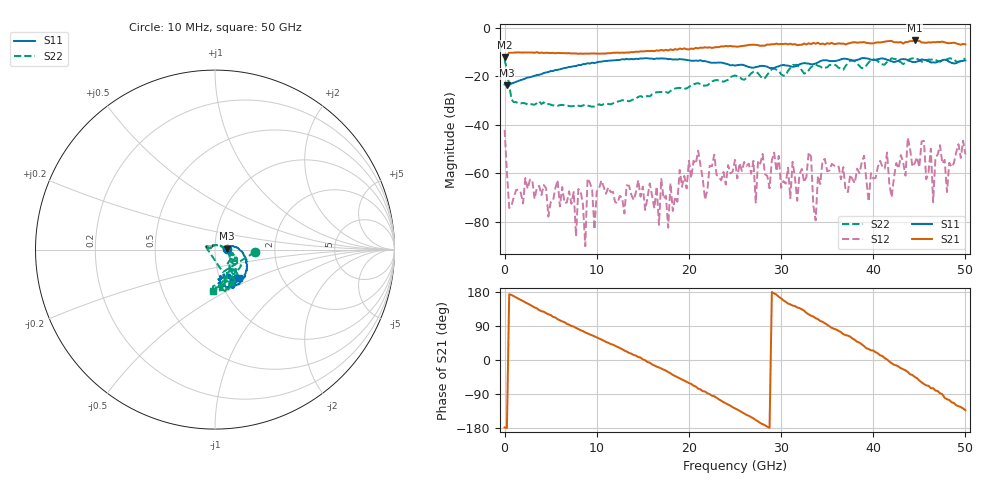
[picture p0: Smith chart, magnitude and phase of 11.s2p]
!Agilent Technologies,E8364C,MY43040239,A.09.42.22
!Agilent E8364C: A.09.42.22
!Date: Sunday, September 14, 2025 22:25:44
!Correction: S11(Full 2 Port(1,2))
!S21(Full 2 Port(1,2))
!S12(Full 2 Port(1,2))
!S22(Full 2 Port(1,2))
!S2P File: Measurements: S11, S21, S12, S22:
# Hz S  RI  R 50
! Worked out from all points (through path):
!   201 points, 10 MHz to 50 GHz, reference 50 ohm
!   highest |S21| = -5.29 dB at 44.5 GHz (marker M1); lowest = -12.2 dB at 10 MHz (marker M2)
!   lowest |S11| = -23.8 dB at 259.9 MHz (marker M3), VSWR 1.14, Z = 56.9 + j0.652 ohm
!   |S11| at or under -10 dB: start of sweep to end of sweep
!   |S22| runs from -32.6 to -12.5 dB; largest |S21 - S12| = 0.54
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1e7  0.0675 0.00323  -0.2444 -0.00836  0.0071 -0.00328  0.2228 -0.0131
2.5995e8  0.0642 0.00571  -0.2607 -0.00115  0.000421 -0.000982  0.0434 -0.1254
8.5083e9  0.1701 -0.0472  0.0686 0.2811  0.000227 -2.95e-05  -0.0032 0.0247
1.45071e10  0.1411 -0.1769  0.3139 0.0428  -0.000485 -0.000532  0.0301 0.0223
1.675665e10  0.1043 -0.2053  0.3155 -0.1128  7.5e-05 4.32e-05  0.0438 0.017
1.70066e10  0.0993 -0.2099  0.321 -0.1339  -0.000695 0.00031  0.0436 0.018
1.775645e10  0.0872 -0.2064  0.2871 -0.1781  -3.93e-05 6.5e-05  0.0442 0.00946
2.10058e10  0.0384 -0.2036  0.0936 -0.362  0.000646 0.00284  0.0716 0.000918
2.175565e10  0.038 -0.1999  0.0464 -0.391  -0.000186 0.000218  0.064 -0.00193
2.5005e10  0.0177 -0.1646  -0.2501 -0.3249  -0.000155 0.00189  0.1003 -0.0248
3.125375e10  0.072 -0.138  -0.3609 0.2656  0.00164 0.000502  0.1197 -0.1211
3.175365e10  0.0688 -0.1518  -0.3264 0.2869  0.000272 1.92e-05  0.1459 -0.0892
3.30034e10  0.098 -0.1528  -0.2426 0.4099  0.0015 -0.00223  0.0794 -0.1067
3.35033e10  0.0859 -0.1536  -0.2029 0.4413  0.000174 0.000124  0.1036 -0.1279
3.475305e10  0.1112 -0.1818  -0.0556 0.445  0.000975 -0.00172  0.0951 -0.1151
4.175165e10  0.1045 -0.1817  0.5284 -0.0376  -0.00013 -0.000567  0.0549 -0.2045
4.45011e10  0.0871 -0.1744  0.3876 -0.3818  0.00145 0.00071  0.0564 -0.2311
4.625075e10  0.1108 -0.1562  0.1321 -0.4733  -0.00156 -0.00279  0.03 -0.2158
4.65007e10  0.1086 -0.1581  0.1353 -0.4858  -0.000129 0.000219  0.0421 -0.2194
4.725055e10  0.1075 -0.1717  0.0194 -0.5027  -0.00108 0.00362  0.0226 -0.198
4.80004e10  0.1341 -0.1645  -0.1131 -0.4696  -0.000392 -0.000124  0.00718 -0.2225
5e10  0.1361 -0.161  -0.3057 -0.3336  0.000188 0.00245  -0.00864 -0.23
